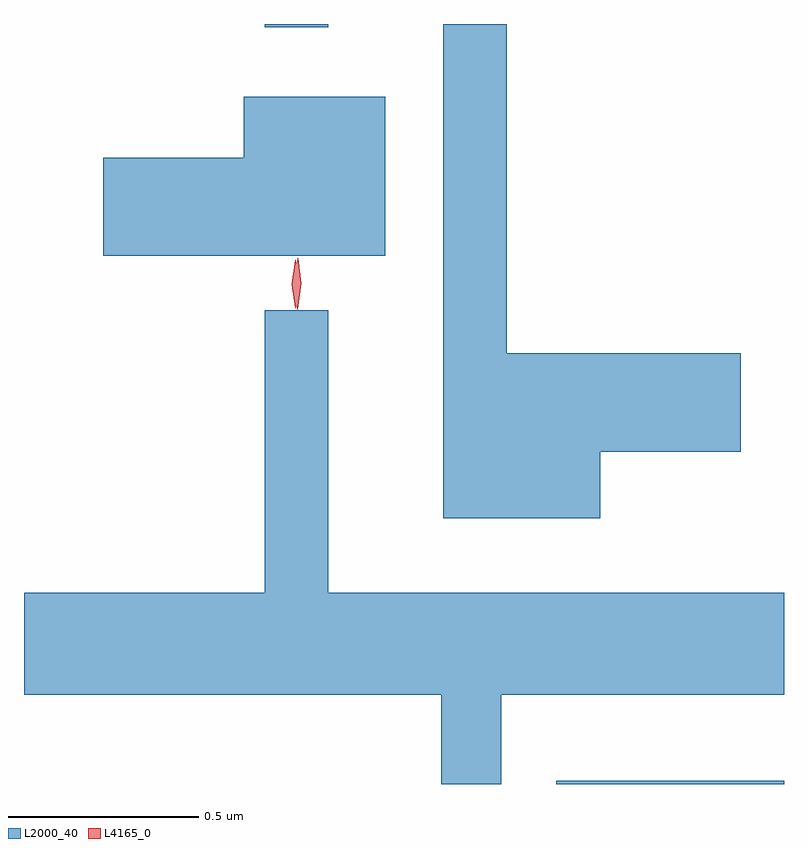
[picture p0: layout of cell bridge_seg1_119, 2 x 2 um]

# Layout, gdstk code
import gdstk
lib = gdstk.Library(unit=1e-6, precision=1e-09)
def R(c, l, rs):  # rectangles x0, y0, x1, y1
    for r in rs: c.add(gdstk.rectangle(r[:2], r[2:], *l))
def P(c, l, *ps):  # polygons
    for p in ps: c.add(gdstk.Polygon(p, *l))
L2000_40 = (2000, 40)
L4165_0 = (4165, 0)

bridge_seg1_119 = lib.new_cell('bridge_seg1_119')
R(bridge_seg1_119, L2000_40, [(1389.388,870.481,1389.988,870.489), (1388.621,872.473,1388.789,872.481)])
P(bridge_seg1_119, L2000_40, [(1389.504,871.356),(1389.874,871.356),(1389.874,871.614),(1389.259,871.614),(1389.259,872.481),(1389.091,872.481),(1389.091,871.181),(1389.504,871.181)],
  [(1388.939,872.289),(1388.566,872.289),(1388.566,872.129),(1388.196,872.129),(1388.196,871.871),(1388.939,871.871)],
  [(1389.244,870.716),(1389.988,870.716),(1389.988,870.984),(1388.789,870.984),(1388.789,871.728),(1388.621,871.728),(1388.621,870.984),(1387.988,870.984),(1387.988,870.716),(1389.086,870.716),(1389.086,870.481),(1389.244,870.481)])
P(bridge_seg1_119, L4165_0, [(1388.707,871.73),(1388.707,871.73),(1388.698,871.798),(1388.709,871.865),(1388.709,871.866),(1388.71,871.865),(1388.718,871.798),(1388.708,871.73)],
  [(1388.702,871.733),(1388.702,871.734),(1388.692,871.796),(1388.702,871.859),(1388.702,871.86),(1388.703,871.859),(1388.712,871.796),(1388.703,871.734)])

lib.write_gds('bridge_seg1_119.gds')
